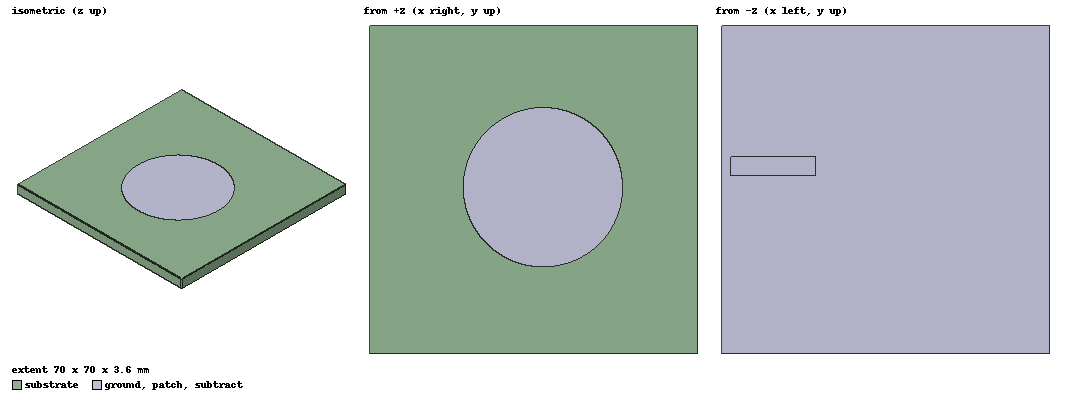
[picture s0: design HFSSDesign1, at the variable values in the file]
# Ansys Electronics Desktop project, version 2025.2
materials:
  vacuum: permittivity=1
  FR4_epoxy: permittivity=4.4 dielectric_loss_tangent=0.02

design HFSSDesign1 (HFSS, HFSS Terminal Network, model units mm)
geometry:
  ground = rectangle(corner=(0mm, 0mm, 0mm), x_size=70mm, y_size=70mm)
  substrate [FR4_epoxy] = box(corner=(0mm, 0mm, 0mm), size=(70mm, 70mm, 3.6mm))
  patch = circle(normal=Z, centre=(37mm, 35.5mm, 3.6mm), radius=17mm)
  subtract = rectangle(corner=(50mm, 42mm, 0mm), x_size=18mm, y_size=-4mm)
